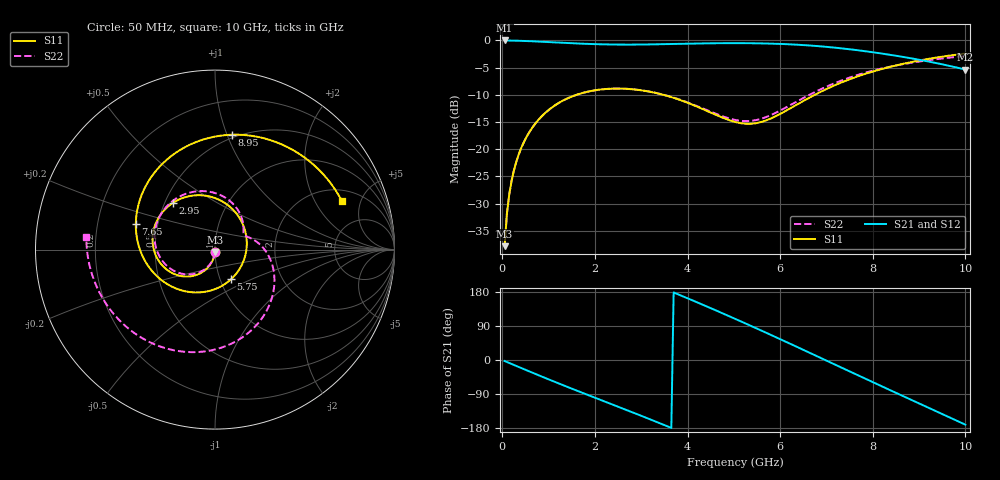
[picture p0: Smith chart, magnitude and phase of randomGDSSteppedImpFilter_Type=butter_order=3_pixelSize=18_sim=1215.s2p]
! freq	dB(S11)	phase(S11)	dB(S12)	phase(S12)
!  dB(S21)	phase(S21)	dB(S22)	phase(S22)
!S-par simulation data
#  GHz  S  DB  R 50
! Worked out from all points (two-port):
!   200 points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, 50 MHz to 10 GHz, reference 50 ohm
!   highest |S21| = 0.00 dB at 50 MHz (marker M1); lowest = -5.4 dB at 10 GHz (marker M2)
!   |S21| within 3 dB of the highest: start of sweep to 8.637 GHz
!   lowest |S11| = -37.8 dB at 50 MHz (marker M3), VSWR 1.03, Z = 49.9 - j1.28 ohm
!   |S11| at or under -10 dB: start of sweep to 1.602 GHz; 3.478 GHz to 6.747 GHz (3.269 GHz wide, 63.9 % of centre)
!   |S22| runs from -37.8 to -2.8 dB; largest |S21 - S12| = 0
!   S11 on the Smith chart (normalised r, x): 50 MHz: 1.00, -0.03; 2.95 GHz: 0.55, +0.33; 5.75 GHz: 1.13, -0.39; 7.65 GHz: 0.37, +0.14; 8.95 GHz: 0.47, +1.04; 10 GHz: 2.68, +3.40
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0.05  -37.82 -92.3  -0.00 -2.6  -0.00 -2.6  -37.83 -92.6
0.1  -31.81 -95.0  -0.01 -5.3  -0.01 -5.3  -31.82 -95.5
0.2  -25.83 -100.2  -0.03 -10.4  -0.03 -10.4  -25.84 -101.1
0.5  -18.12 -115.2  -0.10 -25.9  -0.10 -25.9  -18.12 -117.6
1.15  -11.86 -146.4  -0.36 -58.5  -0.36 -58.5  -11.86 -152.0
1.75  -9.62 -173.9  -0.61 -87.6  -0.61 -87.6  -9.63 177.4
2.35  -8.87 159.1  -0.75 -116.1  -0.75 -116.1  -8.87 147.4
2.95  -9.11 131.9  -0.76 -144.8  -0.76 -144.8  -9.10 117.5
3.4  -9.83 110.5  -0.70 -166.8  -0.70 -166.8  -9.81 95.1
3.8  -10.84 90.1  -0.63 173.1  -0.63 173.1  -10.79 75.7
4.2  -12.15 67.4  -0.56 152.6  -0.56 152.6  -12.05 57.7
5.05  -15.04 4.6  -0.50 107.5  -0.50 107.5  -14.65 31.3
5.4  -15.30 -28.3  -0.52 88.4  -0.52 88.4  -14.76 25.8
5.75  -14.53 -61.5  -0.57 69.0  -0.57 69.0  -13.91 19.6
6.25  -12.33 -103.4  -0.73 41.0  -0.73 41.0  -11.75 4.7
6.7  -10.21 -135.9  -0.97 15.5  -0.97 15.5  -9.71 -14.1
7.15  -8.35 -165.8  -1.30 -10.2  -1.30 -10.2  -7.95 -35.6
7.65  -6.68 162.2  -1.77 -38.6  -1.77 -38.6  -6.41 -60.7
8.35  -4.91 118.3  -2.61 -78.2  -2.61 -78.2  -4.86 -96.3
8.95  -3.78 81.5  -3.47 -111.9  -3.47 -111.9  -3.95 -127.3
9.45  -3.04 52.0  -4.30 -139.9  -4.30 -139.9  -3.37 -154.2
10  -2.42 21.0  -5.35 -170.7  -5.35 -170.7  -2.85 174.5
